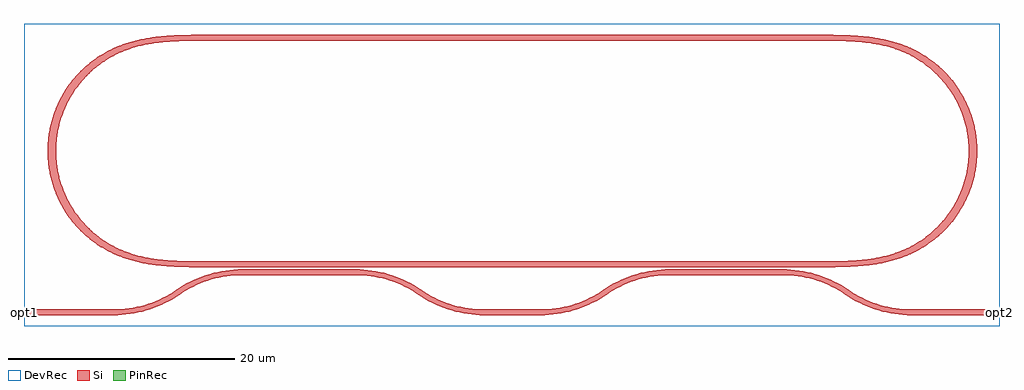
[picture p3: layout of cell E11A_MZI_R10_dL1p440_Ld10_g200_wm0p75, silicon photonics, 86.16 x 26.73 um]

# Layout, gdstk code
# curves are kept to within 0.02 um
import gdstk
lib = gdstk.Library(unit=1e-6, precision=1e-09)
def R(c, l, rs):  # rectangles x0, y0, x1, y1
    for r in rs: c.add(gdstk.rectangle(r[:2], r[2:], *l))
def P(c, l, *ps):  # polygons
    for p in ps: c.add(gdstk.Polygon(p, *l))
Si = (1, 0)
PinRec = (1, 10)
DevRec = (68, 0)

c__e11aring_r10p000_lc51p7 = lib.new_cell('_E11Aring_R10p000_Lc51p706_w0p500_wm0p750_tp30')
R(c__e11aring_r10p000_lc51p7, Si, [(-25.853,-10.25,25.853,-9.75), (-25.853,9.75,25.853,10.25)])
P(c__e11aring_r10p000_lc51p7, Si, [(-27.014,-10.25),(-29.999,-10.193),(-31.156,-10.105),(-32.143,-9.976),(-33.119,-9.783),(-33.919,-9.565),(-34.701,-9.289),(-35.459,-8.954),(-36.322,-8.475),(-36.992,-8.02),(-37.744,-7.404),(-38.432,-6.719),(-39.051,-5.969),(-39.508,-5.301),(-39.984,-4.454),(-40.316,-3.715),(-40.633,-2.797),(-40.86,-1.852),(-40.993,-0.89),(-41.033,0.081),(-40.978,1.051),(-40.795,2.17),(-40.537,3.107),(-40.19,4.014),(-39.757,4.884),(-39.24,5.707),(-38.646,6.476),(-37.981,7.184),(-37.249,7.823),(-36.459,8.388),(-35.607,8.88),(-34.701,9.29),(-33.601,9.659),(-32.633,9.888),(-31.321,10.088),(-29.999,10.193),(-28.507,10.24),(-25.853,10.25),(-25.853,9.75),(-28.372,9.741),(-30.102,9.678),(-31.668,9.515),(-32.903,9.271),(-33.659,9.054),(-34.252,8.841),(-34.829,8.591),(-35.39,8.304),(-36.43,7.636),(-36.915,7.253),(-37.373,6.84),(-37.803,6.398),(-38.3,5.807),(-38.746,5.179),(-39.066,4.651),(-39.351,4.103),(-39.655,3.395),(-39.902,2.664),(-40.056,2.066),(-40.193,1.308),(-40.258,0.694),(-40.283,0.077),(-40.258,-0.694),(-40.193,-1.307),(-40.056,-2.066),(-39.857,-2.811),(-39.599,-3.538),(-39.283,-4.242),(-38.829,-5.048),(-38.3,-5.807),(-37.803,-6.398),(-37.261,-6.946),(-36.554,-7.543),(-35.922,-7.986),(-35.252,-8.379),(-34.397,-8.781),(-33.509,-9.101),(-32.442,-9.376),(-31.512,-9.537),(-30.416,-9.655),(-29.316,-9.717),(-25.853,-9.75),(-25.853,-10.25)],
  [(25.853,-10.25),(25.853,-9.75),(28.529,-9.738),(30.102,-9.678),(31.512,-9.537),(32.75,-9.307),(33.808,-9.003),(34.686,-8.656),(35.527,-8.226),(36.306,-7.726),(37.261,-6.946),(38.008,-6.166),(38.661,-5.307),(39.213,-4.379),(39.655,-3.395),(39.984,-2.366),(40.213,-1.154),(40.283,-0.077),(40.23,1.001),(40.056,2.066),(39.761,3.105),(39.283,4.242),(38.746,5.179),(38.008,6.167),(37.261,6.946),(36.796,7.352),(36.306,7.726),(35.527,8.227),(34.686,8.657),(33.808,9.004),(32.75,9.308),(31.356,9.559),(30.102,9.678),(28.372,9.741),(25.853,9.75),(25.853,10.25),(29.667,10.209),(30.991,10.122),(31.815,10.026),(32.957,9.82),(33.919,9.565),(34.701,9.29),(35.607,8.88),(36.459,8.388),(37.249,7.823),(37.981,7.184),(38.646,6.476),(39.24,5.707),(39.757,4.884),(40.19,4.014),(40.537,3.107),(40.795,2.17),(40.959,1.212),(41.03,0.243),(41.007,-0.728),(40.889,-1.693),(40.677,-2.641),(40.375,-3.564),(39.984,-4.454),(39.593,-5.163),(39.051,-5.969),(38.432,-6.719),(37.863,-7.295),(37.249,-7.823),(36.459,-8.388),(35.607,-8.879),(34.855,-9.227),(33.919,-9.565),(33.119,-9.783),(32.143,-9.976),(31.321,-10.087),(30.164,-10.184),(29.17,-10.226)])

e11a_mzi_r10_dl1p440_ld1 = lib.new_cell('E11A_MZI_R10_dL1p440_Ld10_g200_wm0p75')
R(e11a_mzi_r10_dl1p440_ld1, Si, [(-1,-0.25,0,0.25), (0,-0.25,6.9,0.25), (39.606,-0.25,44.606,0.25), (77.313,-0.25,84.14,0.25), (84.14,-0.25,85.14,0.25), (18.253,3.285,28.253,3.785), (55.959,3.285,65.959,3.785)])
P(e11a_mzi_r10_dl1p440_ld1, Si, [(77.313,-0.25),(76.223,-0.192),(75.502,-0.089),(74.791,0.065),(74.092,0.269),(73.41,0.522),(72.747,0.823),(72.108,1.17),(71.494,1.562),(71.778,1.973),(72.361,1.601),(72.97,1.271),(73.6,0.984),(74.249,0.744),(75.251,0.47),(75.932,0.348),(76.621,0.275),(77.313,0.25)],
  [(71.494,1.562),(70.911,1.934),(70.302,2.264),(69.672,2.55),(69.023,2.791),(68.358,2.985),(67.34,3.187),(66.651,3.26),(65.959,3.285),(65.959,3.785),(67.049,3.727),(67.77,3.624),(68.832,3.374),(69.862,3.013),(70.848,2.544),(71.778,1.973)],
  [(50.425,1.562),(50.141,1.973),(51.071,2.544),(52.057,3.013),(53.087,3.374),(54.149,3.624),(54.87,3.727),(55.959,3.785),(55.959,3.285),(55.268,3.26),(54.579,3.187),(53.561,2.985),(52.896,2.791),(52.247,2.55),(51.617,2.264),(51.008,1.934)],
  [(39.606,-0.25),(38.879,-0.224),(38.155,-0.147),(37.085,0.065),(36.386,0.269),(35.704,0.522),(35.041,0.823),(34.401,1.17),(33.788,1.562),(34.072,1.973),(34.655,1.601),(35.264,1.271),(35.894,0.984),(36.543,0.744),(37.208,0.55),(37.884,0.403),(38.57,0.305),(39.606,0.25)],
  [(44.606,-0.25),(44.606,0.25),(45.298,0.275),(45.986,0.348),(46.668,0.47),(47.339,0.641),(47.996,0.858),(48.636,1.122),(49.256,1.43),(50.141,1.973),(50.425,1.562),(49.811,1.17),(49.172,0.823),(48.509,0.522),(47.827,0.269),(47.128,0.065),(46.417,-0.089),(45.696,-0.192)],
  [(33.788,1.562),(32.903,2.105),(32.283,2.413),(31.643,2.676),(30.986,2.894),(30.315,3.064),(29.633,3.187),(28.945,3.26),(28.253,3.285),(28.253,3.785),(29.343,3.727),(30.063,3.624),(31.126,3.374),(32.156,3.013),(33.141,2.544),(34.072,1.973)],
  [(12.718,1.562),(12.435,1.973),(13.365,2.544),(14.351,3.013),(15.38,3.374),(16.443,3.624),(17.163,3.727),(18.253,3.785),(18.253,3.285),(17.561,3.26),(16.873,3.187),(15.855,2.985),(15.19,2.791),(14.541,2.55),(13.91,2.264),(13.302,1.934)],
  [(6.9,-0.25),(6.9,0.25),(7.592,0.275),(8.28,0.348),(8.962,0.47),(9.633,0.641),(10.29,0.858),(10.93,1.122),(11.55,1.43),(12.435,1.973),(12.718,1.562),(12.105,1.17),(11.465,0.823),(10.803,0.522),(10.12,0.269),(9.422,0.065),(8.351,-0.147),(7.627,-0.224)])
R(e11a_mzi_r10_dl1p440_ld1, DevRec, [(-1,-1.25,85.14,25.485)])
e11a_mzi_r10_dl1p440_ld1.add(gdstk.FlexPath([(85.13,0),(85.15,0)], 0.5, ends="flush", simple_path=True, layer=1, datatype=10))  # PinRec
e11a_mzi_r10_dl1p440_ld1.add(gdstk.FlexPath([(-0.99,0),(-1.01,0)], 0.5, ends="flush", simple_path=True, layer=1, datatype=10))  # PinRec
e11a_mzi_r10_dl1p440_ld1.add(gdstk.Reference(c__e11aring_r10p000_lc51p7, (42.106,14.235)))
e11a_mzi_r10_dl1p440_ld1.add(gdstk.Label('opt2', (85.14,0), layer=1, texttype=10))
e11a_mzi_r10_dl1p440_ld1.add(gdstk.Label('opt1', (-1,0), layer=1, texttype=10))

lib.write_gds('E11A_MZI_R10_dL1p440_Ld10_g200_wm0p75.gds')
